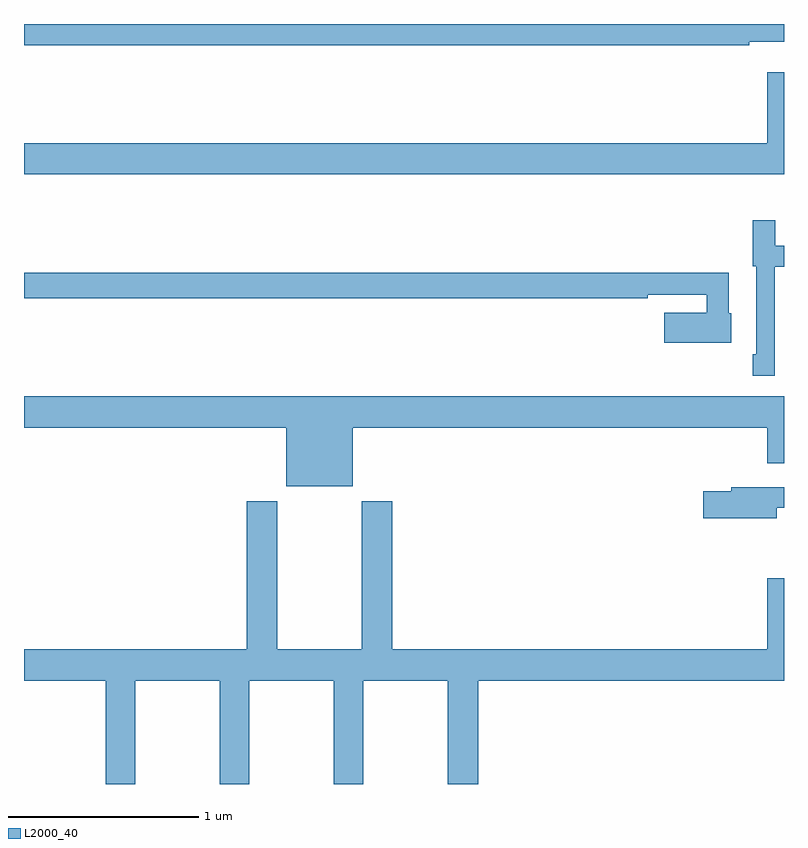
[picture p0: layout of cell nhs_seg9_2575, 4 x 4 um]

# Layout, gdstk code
import gdstk
lib = gdstk.Library(unit=1e-6, precision=1e-09)
def P(c, l, *ps):  # polygons
    for p in ps: c.add(gdstk.Polygon(p, *l))
L2000_40 = (2000, 40)

nhs_seg9_2575 = lib.new_cell('nhs_seg9_2575')
P(nhs_seg9_2575, L2000_40, [(260.816,1242.407),(261,1242.407),(261,1242.5),(257,1242.5),(257,1242.388),(260.816,1242.388)],
  [(261,1242.247),(260.912,1242.247),(260.912,1241.872),(257,1241.872),(257,1241.708),(261,1241.708)],
  [(260.952,1241.223),(261,1241.223),(261,1241.332),(260.953,1241.332),(260.953,1241.467),(260.836,1241.467),(260.836,1241.226),(260.855,1241.226),(260.855,1240.762),(260.836,1240.762),(260.836,1240.65),(260.952,1240.65)],
  [(260.722,1240.977),(260.71,1240.977),(260.71,1241.192),(257,1241.192),(257,1241.056),(260.282,1241.056),(260.282,1241.076),(260.593,1241.076),(260.593,1240.981),(260.37,1240.981),(260.37,1240.823),(260.722,1240.823)],
  [(258.73,1240.376),(260.912,1240.376),(260.912,1240.188),(261,1240.188),(261,1240.54),(257,1240.54),(257,1240.376),(258.38,1240.376),(258.38,1240.067),(258.73,1240.067)],
  [(260.962,1239.954),(261,1239.954),(261,1240.062),(260.723,1240.062),(260.723,1240.041),(260.574,1240.041),(260.574,1239.899),(260.962,1239.899)],
  [(257.586,1239.044),(258.031,1239.044),(258.031,1238.5),(258.186,1238.5),(258.186,1239.044),(258.631,1239.044),(258.631,1238.5),(258.786,1238.5),(258.786,1239.044),(259.231,1239.044),(259.231,1238.5),(259.391,1238.5),(259.391,1239.044),(261,1239.044),(261,1239.583),(260.912,1239.583),(260.912,1239.208),(258.938,1239.208),(258.938,1239.988),(258.778,1239.988),(258.778,1239.208),(258.333,1239.208),(258.333,1239.988),(258.173,1239.988),(258.173,1239.208),(257,1239.208),(257,1239.044),(257.431,1239.044),(257.431,1238.5),(257.586,1238.5)])

lib.write_gds('nhs_seg9_2575.gds')
